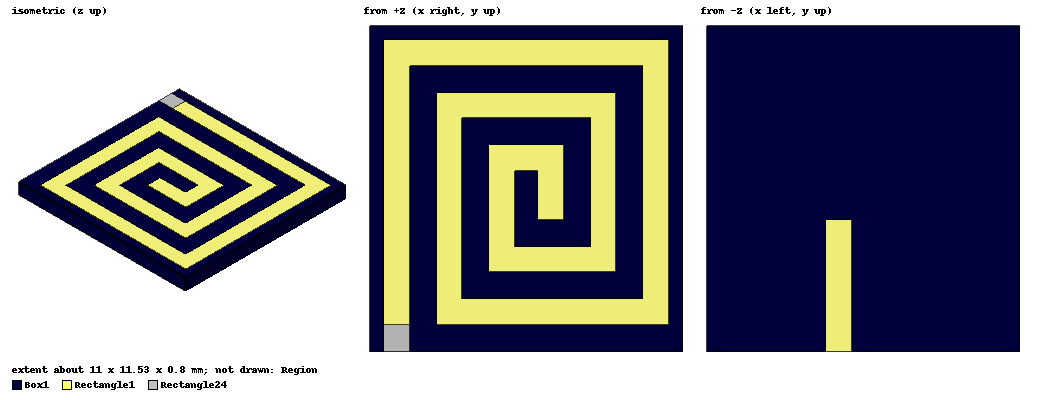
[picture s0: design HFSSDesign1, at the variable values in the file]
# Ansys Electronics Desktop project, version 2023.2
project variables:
  $subs = 0.8mm
  $fq = 0.868GHz
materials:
  vacuum: permittivity=1
  FR4_epoxy: permittivity=4.4 dielectric_loss_tangent=0.02
  air: permittivity=1.0006 permeability=1.0000004
  pec: conductivity=1e+30

design HFSSDesign1 (HFSS, HFSS Terminal Network, model units mm)
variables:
  dout = 10mm
  w = 0.9mm
  s = 0.94mm
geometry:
  Rectangle1 = rectangle(corner=(0mm, 0mm, 0mm), x_size=w, y_size=dout)
  Rectangle2 = rectangle(corner=(0mm, 10mm, 0mm), x_size=dout, y_size=-w)
  Rectangle3 = rectangle(corner=(10mm, 10mm, 0mm), x_size=-w, y_size=-10mm)
  Rectangle5 = rectangle(corner=(1.84mm, 0mm, 0mm), x_size=8.16mm, y_size=w)
  Rectangle6 = rectangle(corner=(1.84mm, 0mm, 0mm), x_size=w, y_size=8.16mm)
  Rectangle7 = rectangle(corner=(1.84mm, 8.16mm, 0mm), x_size=6.32mm, y_size=-w)
  Rectangle8 = rectangle(corner=(8.16mm, 8.16mm, 0mm), x_size=-w, y_size=-6.32mm)
  Rectangle9 = rectangle(corner=(8.16mm, 1.84mm, 0mm), x_size=-4.48mm, y_size=w)
  Rectangle10 = rectangle(corner=(3.68mm, 1.84mm, 0mm), x_size=w, y_size=4.48mm)
  Rectangle11 = rectangle(corner=(3.68mm, 6.32mm, 0mm), x_size=2.64mm, y_size=-w)
  Rectangle12 = rectangle(corner=(6.32mm, 6.32mm, 0mm), x_size=-w, y_size=-2.64mm)
  Rectangle1.unite(Rectangle2, Rectangle3, Rectangle5..Rectangle12)
  Rectangle13 = rectangle(corner=(0mm, 0mm, 0mm), x_size=0.9mm, y_size=-0.5mm)
  Rectangle1.unite(Rectangle13)
  Rectangle1.move(0mm, 5mm, 0mm)
  Rectangle19 = rectangle(corner=(0.9mm, 4.5mm, 0mm), x_size=-w, y_size=-4.32mm)
  Rectangle1.unite(Rectangle19)
  Rectangle20 = rectangle(corner=(1mm, 5mm, 0mm), x_size=-1.5mm, y_size=-5mm)
  Rectangle1.subtract(Rectangle20)
  Rectangle1.move(0mm, -5mm, 0mm)
  Rectangle21 = rectangle(corner=(0mm, 0mm, 0mm), x_size=w, y_size=-s)
  Rectangle1.unite(Rectangle21)
  Box1 [FR4_epoxy] = box(corner=(0mm, -0.94mm, 0mm), size=(10.5mm, 11.44mm, -$subs))
  Box2 = box(corner=(0mm, -0.94mm, 0mm), size=(-0.5mm, 11.44mm, -$subs))
  Box1.unite(Box2)
  Region [air] = region(percentage_offset=34.58 on all sides)
  Rectangle22 = rectangle(corner=(0mm, 0mm, 0mm), x_size=0.9mm, y_size=-0.95mm)
  Rectangle1.subtract(Rectangle22)
  Rectangle24 = rectangle(corner=(0mm, -0.94mm, 0mm), x_size=0.9mm, y_size=0.94mm)
  Rectangle25 = rectangle(corner=(5.42mm, 3.68mm, 0mm), z_size=-$subs, x_size=w)
  Rectangle26 = rectangle(corner=(5.42mm, 3.68mm, -0.8mm), x_size=w, y_size=-4.62mm)
  Rectangle27 = rectangle(corner=(6.32mm, -0.94mm, -0.8mm), z_size=0.8mm, x_size=-6.32mm)
  Rectangle27.unite(Rectangle26, Rectangle25)
  Rectangle1.unite(Rectangle27)
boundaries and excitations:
  PerfE1: Perfect E Objects=Rectangle1
  Rad1: Radiation Objects=Region
  1: Lumped Port Objects=Rectangle24 LumpedPortType=Modal Modes{Mode1{IntLine{(0.44, -0.94, 0) -> (0.5, 0, 0)} CharImp=Zpi RenormImp=50ohm}} Impedance=50ohm
  reference conductors: Rectangle1
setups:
  Setup1: HfssDriven Frequency=0.868GHz MaxDeltaS=0.02 MaximumPasses=20 MinimumPasses=1 MinimumConvergedPasses=1 PercentRefinement=30 BasisOrder=1 PortAccuracy=2 DrivenSolverType="Direct Solver" VariablesForDerivatives($fq) VariableFlagsForDerivatives(1)
    sweep Sweep: 0.1GHz to 5GHz, 401 points; Type=Interpolating InterpTolerance=0.5 InterpMaxSolns=250 PassivityErrorTolerance=0.0001
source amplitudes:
  1:1: 1V 0deg
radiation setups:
  Infinite Sphere1: Infinite Sphere Theta=0deg..360deg step 2deg Phi=-180deg..180deg step 2deg
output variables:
  L = (-1*10^9)/(2*3.14*$fq*im(Yt(1,1)))
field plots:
  Mag_E1: E Field in Region on Setup1 : LastAdaptive at Freq=0.868GHz Phase=0deg
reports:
  Terminal Y Parameter: dB(Yt(1,1)) vs Freq on Setup1 : Sweep [dout=all w=all s=all $subs=all $fq=all]
  Terminal Y Parameter1: dB(Yt(1,1)) vs Pass on Setup1 : AdaptivePass [Freq=all dout=all w=all s=all $subs=all $fq=all]
  Output Variables Plot 1: L vs Freq on Setup1 : Sweep [dout=all w=all s=all $subs=all $fq=all]; markers MX1 at x=3.5045108e+08
